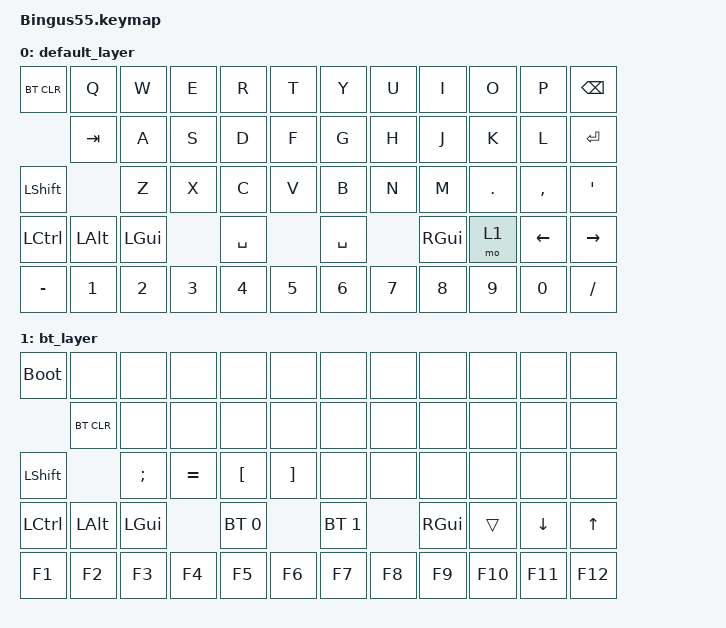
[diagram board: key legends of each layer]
#include <behaviors.dtsi>
#include <dt-bindings/zmk/bt.h>
#include <dt-bindings/zmk/keys.h>

/ {
    keymap {
        compatible = "zmk,keymap";

        default_layer {
            bindings = <
&bt BT_CLR  &kp Q     &kp W     &kp E   &kp R      &kp T   &kp Y      &kp U   &kp I     &kp O    &kp P      &kp BSPC
            &kp TAB   &kp A     &kp S   &kp D      &kp F   &kp G      &kp H   &kp J     &kp K    &kp L      &kp ENTER
&kp LSHIFT            &kp Z     &kp X   &kp C      &kp V   &kp B      &kp N   &kp M     &kp DOT  &kp COMMA  &kp APOS
&kp LCTRL   &kp LALT  &kp LGUI          &kp SPACE          &kp SPACE          &kp RGUI  &mo 1    &kp LEFT   &kp RIGHT
&kp MINUS   &kp N1    &kp N2    &kp N3  &kp N4     &kp N5  &kp N6     &kp N7  &kp N8    &kp N9   &kp N0     &kp SLASH
            >;
        };

        bt_layer {
            bindings = <
&bootloader  &none       &none     &none      &none         &none     &none         &none   &none     &none    &none     &none
             &bt BT_CLR  &none     &none      &none         &none     &none         &none   &none     &none    &none     &none
&kp LSHIFT               &kp SEMI  &kp EQUAL  &kp LBKT      &kp RBKT  &none         &none   &none     &none    &none     &none
&kp LCTRL    &kp LALT    &kp LGUI             &bt BT_SEL 0            &bt BT_SEL 1          &kp RGUI  &trans   &kp DOWN  &kp UP
&kp F1       &kp F2      &kp F3    &kp F4     &kp F5        &kp F6    &kp F7        &kp F8  &kp F9    &kp F10  &kp F11   &kp F12
            >;
        };
    };
};
